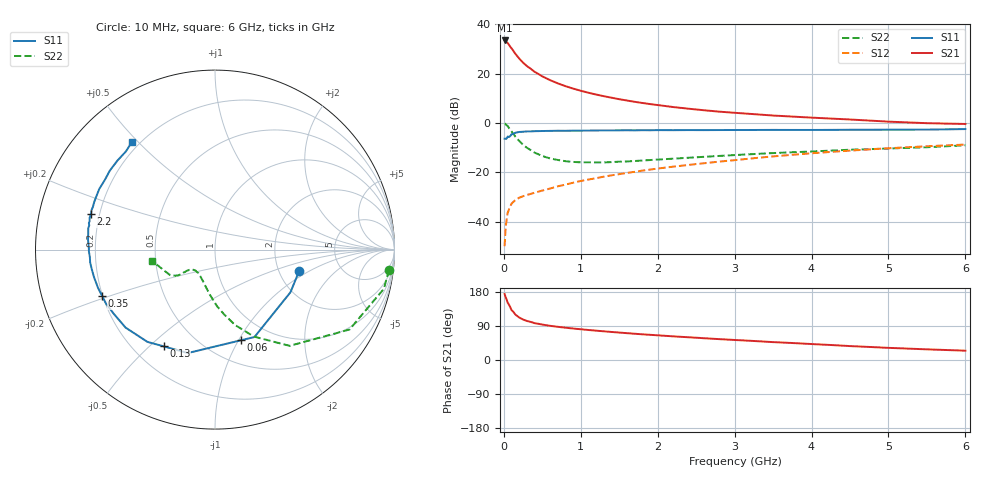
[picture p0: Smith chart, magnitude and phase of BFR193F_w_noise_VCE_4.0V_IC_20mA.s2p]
! (c) 2017  Infineon Technologies AG, Munich
! Infineon Technologies  Discrete & RF Semiconductors
! BFR193F
! VCE =  4.0 V,  IC =  20 mA
! Common Emitter S-Parameters:  Jan 2017
# GHz  S  MA  R  50
!  f  S11  S21  S12  S22
! GHz  MAG  ANG  MAG  ANG  MAG  ANG  MAG  ANG
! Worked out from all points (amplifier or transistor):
!   77 points, 10 MHz to 6 GHz, reference 50 ohm
!   highest |S21| = 33.5 dB at 10 MHz (marker M1)
!   |S21| within 3 dB of that: start of sweep to 94.96 MHz
!   unconditionally stable (mu >= 1): 1.303 GHz to 2.791 GHz
!   at 130 MHz: K = 0.29, MSG = 30.4 dB, |S12| = -31.8 dB
!   at 2.2 GHz: K = 1.03, MAG = 11.1 dB, |S12| = -17.7 dB
!   at 6 GHz: K = 0.85, MSG = 4.2 dB, |S12| = -8.7 dB
!   lowest NFmin = 1.04 dB at 450 MHz
!   S11 on the Smith chart (normalised r, x): 10 MHz: 2.58, -0.81; 60 MHz: 0.74, -1.03; 130 MHz: 0.32, -0.55; 350 MHz: 0.20, -0.19; 2.2 GHz: 0.17, +0.14; 6 GHz: 0.17, +0.48
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0.01  0.4837 -14.4  47.35 174.1  0.0032 86.3  0.9759 -6.7
0.02  0.4829 -29.5  46.19 167.6  0.0063 82.9  0.9659 -13.1
0.05  0.5344 -65.7  42.11 151.4  0.0152 67.5  0.8717 -30.7
0.06  0.5255 -73.9  39.92 148.2  0.0167 64.0  0.8252 -34.2
0.1  0.5957 -104.7  32.78 131.7  0.0233 54.8  0.6788 -52.2
0.13  0.6103 -118.0  28.2 125.4  0.0258 50.4  0.5859 -59.6
0.15  0.6372 -126.2  25.39 119.9  0.0276 48.0  0.5309 -65.9
0.2  0.6611 -138.9  20.35 112.1  0.0307 45.7  0.4348 -75.1
0.25  0.6679 -147.6  16.79 106.8  0.0329 44.8  0.3626 -82.2
0.3  0.6774 -153.6  14.31 103.0  0.0349 45.8  0.3159 -87.9
0.35  0.6798 -157.7  12.62 100.5  0.0368 47.3  0.283 -91.8
0.4  0.6856 -161.8  10.96 97.2  0.0388 48.7  0.2518 -96.7
0.5  0.6912 -167.0  8.861 93.5  0.0429 50.6  0.2152 -103.5
0.6  0.6952 -170.9  7.44 90.2  0.0471 53.8  0.1921 -109.5
0.8  0.6983 -176.5  5.613 85.3  0.0566 58.2  0.169 -119.2
1.1  0.7057 177.5  4.123 79.2  0.0717 63.0  0.1604 -128.7
2.1  0.7195 164.9  2.218 63.8  0.1253 69.1  0.1861 -142.1
2.2  0.7187 164.0  2.117 62.4  0.1308 69.2  0.19 -142.4
3.1  0.7245 156.0  1.578 51.8  0.184 69.5  0.2291 -143.9
4.1  0.7271 146.9  1.269 41.1  0.2508 66.8  0.2703 -147.7
5.1  0.7359 136.5  1.055 31.3  0.3148 61.7  0.309 -158.5
6  0.7568 127.9  0.96 24.6  0.3674 56.5  0.3547 -169.3
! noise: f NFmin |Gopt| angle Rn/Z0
0.45  1.04  0.33  168  0.06
0.9  1.12  0.39  169  0.07
1.9  1.71  0.57  -171  0.06
2.4  2.01  0.61  -161  0.1
